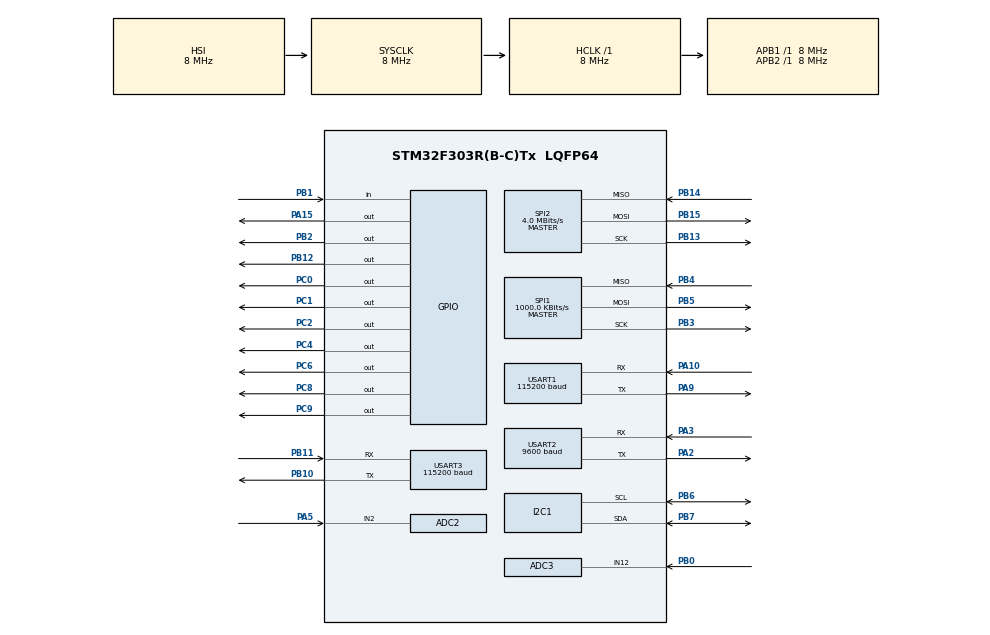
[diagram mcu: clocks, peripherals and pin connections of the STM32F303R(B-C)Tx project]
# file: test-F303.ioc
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ADC2.Channel-0\#ChannelRegularConversion=ADC_CHANNEL_2
ADC2.NbrOfConversionFlag=1
ADC2.Offset-0\#ChannelRegularConversion=0
ADC2.OffsetNumber-0\#ChannelRegularConversion=ADC_OFFSET_NONE
ADC2.Rank-0\#ChannelRegularConversion=1
ADC2.SamplingTime-0\#ChannelRegularConversion=ADC_SAMPLETIME_1CYCLE_5
ADC2.SamplingTimeOPAMP-0\#ChannelRegularConversion=ADC_SAMPLETIME_4CYCLES_5
ADC3.Channel-0\#ChannelRegularConversion=ADC_CHANNEL_12
ADC3.NbrOfConversionFlag=1
ADC3.Offset-0\#ChannelRegularConversion=0
ADC3.OffsetNumber-0\#ChannelRegularConversion=ADC_OFFSET_NONE
ADC3.Rank-0\#ChannelRegularConversion=1
ADC3.SamplingTime-0\#ChannelRegularConversion=ADC_SAMPLETIME_1CYCLE_5
ADC3.SamplingTimeOPAMP-0\#ChannelRegularConversion=ADC_SAMPLETIME_4CYCLES_5
ADC3.master=1
Dma.ADC2.3.Direction=DMA_PERIPH_TO_MEMORY
Dma.ADC2.3.Instance=DMA2_Channel1
Dma.ADC2.3.MemDataAlignment=DMA_MDATAALIGN_HALFWORD
Dma.ADC2.3.MemInc=DMA_MINC_ENABLE
Dma.ADC2.3.Mode=DMA_CIRCULAR
Dma.ADC2.3.PeriphDataAlignment=DMA_PDATAALIGN_HALFWORD
Dma.ADC2.3.PeriphInc=DMA_PINC_DISABLE
Dma.ADC2.3.Priority=DMA_PRIORITY_LOW
Dma.ADC3.4.Direction=DMA_PERIPH_TO_MEMORY
Dma.ADC3.4.Instance=DMA2_Channel5
Dma.ADC3.4.MemDataAlignment=DMA_MDATAALIGN_HALFWORD
Dma.ADC3.4.MemInc=DMA_MINC_ENABLE
Dma.ADC3.4.Mode=DMA_CIRCULAR
Dma.ADC3.4.PeriphDataAlignment=DMA_PDATAALIGN_HALFWORD
Dma.ADC3.4.PeriphInc=DMA_PINC_DISABLE
Dma.ADC3.4.Priority=DMA_PRIORITY_LOW
Dma.Request0=USART2_RX
Dma.Request1=USART1_RX
Dma.Request2=USART3_RX
Dma.Request3=ADC2
Dma.Request4=ADC3
Dma.Request5=USART1_TX
Dma.USART1_RX.1.Direction=DMA_PERIPH_TO_MEMORY
Dma.USART1_RX.1.Instance=DMA1_Channel5
Dma.USART1_RX.1.MemDataAlignment=DMA_MDATAALIGN_BYTE
Dma.USART1_RX.1.MemInc=DMA_MINC_ENABLE
Dma.USART1_RX.1.Mode=DMA_CIRCULAR
Dma.USART1_RX.1.PeriphDataAlignment=DMA_PDATAALIGN_BYTE
Dma.USART1_RX.1.PeriphInc=DMA_PINC_DISABLE
Dma.USART1_RX.1.Priority=DMA_PRIORITY_LOW
Dma.USART1_TX.5.Direction=DMA_MEMORY_TO_PERIPH
Dma.USART1_TX.5.Instance=DMA1_Channel4
Dma.USART1_TX.5.MemDataAlignment=DMA_MDATAALIGN_BYTE
Dma.USART1_TX.5.MemInc=DMA_MINC_ENABLE
Dma.USART1_TX.5.Mode=DMA_NORMAL
Dma.USART1_TX.5.PeriphDataAlignment=DMA_PDATAALIGN_BYTE
Dma.USART1_TX.5.PeriphInc=DMA_PINC_DISABLE
Dma.USART1_TX.5.Priority=DMA_PRIORITY_LOW
Dma.USART2_RX.0.Direction=DMA_PERIPH_TO_MEMORY
Dma.USART2_RX.0.Instance=DMA1_Channel6
Dma.USART2_RX.0.MemDataAlignment=DMA_MDATAALIGN_BYTE
Dma.USART2_RX.0.MemInc=DMA_MINC_ENABLE
Dma.USART2_RX.0.Mode=DMA_CIRCULAR
Dma.USART2_RX.0.PeriphDataAlignment=DMA_PDATAALIGN_BYTE
Dma.USART2_RX.0.PeriphInc=DMA_PINC_DISABLE
Dma.USART2_RX.0.Priority=DMA_PRIORITY_MEDIUM
Dma.USART3_RX.2.Direction=DMA_PERIPH_TO_MEMORY
Dma.USART3_RX.2.Instance=DMA1_Channel3
Dma.USART3_RX.2.MemDataAlignment=DMA_MDATAALIGN_BYTE
Dma.USART3_RX.2.MemInc=DMA_MINC_ENABLE
Dma.USART3_RX.2.Mode=DMA_CIRCULAR
Dma.USART3_RX.2.PeriphDataAlignment=DMA_PDATAALIGN_BYTE
Dma.USART3_RX.2.PeriphInc=DMA_PINC_DISABLE
Dma.USART3_RX.2.Priority=DMA_PRIORITY_MEDIUM
FREERTOS.MEMORY_ALLOCATION=2
FREERTOS.Mutexes01=myMutex,Dynamic,NULL,Depleted
FREERTOS.Tasks01=defaultTask,0,64,StartDefaultTask,Default,NULL,Dynamic,NULL,NULL;ControllingLED,-2,64,StartControllingLED,Default,NULL,Dynamic,NULL,NULL;UART1,-2,64,StartUART1,Default,NULL,Dynamic,NULL,NULL;SpiFlash,-2,1280,StartSpiFlash,Default,NULL,Dynamic,NULL,NULL;GPS,-2,480,StartGPS,Default,NULL,Dynamic,NULL,NULL;RFID,-2,64,StartRFID,Default,NULL,Dynamic,NULL,NULL;GSM,-2,896,StartGSM,Default,NULL,Dynamic,NULL,NULL
FREERTOS.configMINIMAL_STACK_SIZE=64
FREERTOS.configQUEUE_REGISTRY_SIZE=32
FREERTOS.configTOTAL_HEAP_SIZE=20000
FREERTOS.configUSE_NEWLIB_REENTRANT=1
I2C1.Timing=0x00201D2B
Mcu.Family=STM32F3
Mcu.Name=STM32F303R(B-C)Tx
Mcu.Package=LQFP64
NVIC.ADC3_IRQn=true\:5\:0\:false\:false\:true\:true\:true\:true\:true
NVIC.DMA1_Channel3_IRQn=true\:5\:0\:false\:false\:true\:true\:false\:true\:true
NVIC.DMA1_Channel4_IRQn=true\:5\:0\:false\:false\:true\:true\:false\:true\:true
NVIC.DMA1_Channel5_IRQn=true\:5\:0\:false\:false\:true\:true\:false\:true\:true
NVIC.DMA1_Channel6_IRQn=true\:5\:0\:false\:false\:true\:true\:false\:true\:true
NVIC.DMA2_Channel1_IRQn=true\:5\:0\:false\:false\:true\:true\:false\:true\:true
NVIC.DMA2_Channel5_IRQn=true\:5\:0\:false\:false\:true\:true\:false\:true\:true
NVIC.PriorityGroup=NVIC_PRIORITYGROUP_4
NVIC.TIM2_IRQn=true\:15\:0\:false\:false\:true\:false\:false\:true\:true
NVIC.TIM3_IRQn=true\:5\:0\:false\:false\:true\:true\:true\:true\:true
NVIC.TimeBase=TIM2_IRQn
NVIC.TimeBaseIP=TIM2
PA10.Mode=Asynchronous
PA10.Signal=USART1_RX
PA15.GPIO_PuPd=GPIO_PULLUP
PA15.GPIO_Speed=GPIO_SPEED_FREQ_HIGH
PA15.PinState=GPIO_PIN_SET
PA15.Signal=GPIO_Output
PA2.Mode=Asynchronous
PA2.Signal=USART2_TX
PA3.Mode=Asynchronous
PA3.Signal=USART2_RX
PA5.Mode=IN2-Single-Ended
PA5.Signal=ADC2_IN2
PA9.Mode=Asynchronous
PA9.Signal=USART1_TX
PB0.Mode=IN12-Single-Ended
PB0.Signal=ADC3_IN12
PB1.Signal=GPIO_Input
PB10.Mode=Asynchronous
PB10.Signal=USART3_TX
PB11.Mode=Asynchronous
PB11.Signal=USART3_RX
PB12.GPIO_PuPd=GPIO_PULLUP
PB12.GPIO_Speed=GPIO_SPEED_FREQ_HIGH
PB12.PinState=GPIO_PIN_SET
PB12.Signal=GPIO_Output
PB13.Mode=Full_Duplex_Master
PB13.Signal=SPI2_SCK
PB14.Mode=Full_Duplex_Master
PB14.Signal=SPI2_MISO
PB15.Mode=Full_Duplex_Master
PB15.Signal=SPI2_MOSI
PB2.PinState=GPIO_PIN_RESET
PB2.Signal=GPIO_Output
PB3.Mode=Full_Duplex_Master
PB3.Signal=SPI1_SCK
PB4.Mode=Full_Duplex_Master
PB4.Signal=SPI1_MISO
PB5.Mode=Full_Duplex_Master
PB5.Signal=SPI1_MOSI
PB6.Mode=I2C
PB6.Signal=I2C1_SCL
PB7.Mode=I2C
PB7.Signal=I2C1_SDA
PC0.GPIO_PuPd=GPIO_PULLUP
PC0.PinState=GPIO_PIN_SET
PC0.Signal=GPIO_Output
PC1.GPIO_PuPd=GPIO_PULLUP
PC1.Signal=GPIO_Output
PC14-OSC32_IN.Mode=LSE-External-Oscillator
PC14-OSC32_IN.Signal=RCC_OSC32_IN
PC15-OSC32_OUT.Mode=LSE-External-Oscillator
PC15-OSC32_OUT.Signal=RCC_OSC32_OUT
PC2.Signal=GPIO_Output
PC4.Signal=GPIO_Output
PC6.PinState=GPIO_PIN_RESET
PC6.Signal=GPIO_Output
PC8.Signal=GPIO_Output
PC9.GPIO_PuPd=GPIO_PULLUP
PC9.Signal=GPIO_Output
ProjectManager.HeapSize=0x200
ProjectManager.StackSize=0x400
ProjectManager.TargetToolchain=STM32CubeIDE
RCC.AHBFreq_Value=8000000
RCC.APB1Freq_Value=8000000
RCC.APB2Freq_Value=8000000
RCC.CortexFreq_Value=8000000
RCC.HSE_VALUE=8000000
RCC.HSI_VALUE=8000000
RCC.PLLMUL=RCC_PLL_MUL4
RCC.RTCClockSelection=RCC_RTCCLKSOURCE_LSE
RCC.SYSCLKFreq_VALUE=8000000
RCC.USBFreq_Value=16000000
RTC.AsynchPrediv=127
RTC.Format=RTC_FORMAT_BIN
RTC.SynchPrediv=255
SPI1.BaudRatePrescaler=SPI_BAUDRATEPRESCALER_8
SPI1.CalculateBaudRate=1000.0 KBits/s
SPI1.DataSize=SPI_DATASIZE_8BIT
SPI1.Direction=SPI_DIRECTION_2LINES
SPI1.Mode=SPI_MODE_MASTER
SPI1.VirtualType=VM_MASTER
SPI2.CalculateBaudRate=4.0 MBits/s
SPI2.Direction=SPI_DIRECTION_2LINES
SPI2.Mode=SPI_MODE_MASTER
SPI2.VirtualType=VM_MASTER
TIM3.CounterMode=TIM_COUNTERMODE_UP
TIM3.Prescaler=8000
USART1.BaudRate=115200
USART1.VirtualMode-Asynchronous=VM_ASYNC
USART2.BaudRate=9600
USART2.VirtualMode-Asynchronous=VM_ASYNC
USART3.BaudRate=115200
USART3.VirtualMode-Asynchronous=VM_ASYNC
VP_FREERTOS_VS_CMSIS_V1.Mode=CMSIS_V1
VP_RTC_VS_RTC_Activate.Mode=RTC_Enabled
VP_RTC_VS_RTC_Calendar.Mode=RTC_Calendar
VP_SYS_VS_tim2.Mode=TIM2
VP_TIM3_VS_ClockSourceINT.Mode=Internal
board=custom

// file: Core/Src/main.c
/* USER CODE BEGIN Header */
/**
  ******************************************************************************
  * @file           : main.c
  * @brief          : Main program body
  ******************************************************************************
  * @attention
  *
  * Copyright (c) 2024 STMicroelectronics.
  * All rights reserved.
  *
  * This software is licensed under terms that can be found in the LICENSE file
  * in the root directory of this software component.
  * If no LICENSE file comes with this software, it is provided AS-IS.
  *
  ******************************************************************************
  */
/* USER CODE END Header */
#include "main.h"
#include "cmsis_os.h"

/* USER CODE BEGIN Includes */
#include "system_management.h"
#include "spi_flash.h"
#include "GPS.h"
#include "RS232-UART1.h"
#include <stdio.h>

/* USER CODE END Includes */

/* USER CODE BEGIN PD */
#define RTC_INIT_FLAG 0x32F2
/* USER CODE END PD */

ADC_HandleTypeDef hadc2;
ADC_HandleTypeDef hadc3;
DMA_HandleTypeDef hdma_adc2;
DMA_HandleTypeDef hdma_adc3;

I2C_HandleTypeDef hi2c1;

RTC_HandleTypeDef hrtc;

SPI_HandleTypeDef hspi1;
SPI_HandleTypeDef hspi2;

TIM_HandleTypeDef htim3;

UART_HandleTypeDef huart1;
UART_HandleTypeDef huart2;
UART_HandleTypeDef huart3;
DMA_HandleTypeDef hdma_usart1_rx;
DMA_HandleTypeDef hdma_usart1_tx;
DMA_HandleTypeDef hdma_usart2_rx;
DMA_HandleTypeDef hdma_usart3_rx;

osThreadId defaultTaskHandle;
osThreadId ControllingLEDHandle;
osThreadId UART1Handle;
osThreadId SpiFlashHandle;
osThreadId GPSHandle;
osThreadId RFIDHandle;
osThreadId GSMHandle;
osMutexId myMutexHandle;
/* USER CODE BEGIN PV */
osMailQId tax_MailQId;
osMailQId RMC_MailQFLASHId;
osMailQId RMC_MailQGSMId;
/* USER CODE END PV */

void SystemClock_Config(void);
static void MX_GPIO_Init(void);
static void MX_DMA_Init(void);
static void MX_RTC_Init(void);
static void MX_SPI1_Init(void);
static void MX_USART1_UART_Init(void);
static void MX_USART2_UART_Init(void);
static void MX_USART3_UART_Init(void);
static void MX_TIM3_Init(void);
static void MX_ADC2_Init(void);
static void MX_ADC3_Init(void);
static void MX_SPI2_Init(void);
static void MX_I2C1_Init(void);
void StartDefaultTask(void const * argument);
void StartControllingLED(void const * argument);
void StartUART1(void const * argument);
void StartSpiFlash(void const * argument);
void StartGPS(void const * argument);
void StartRFID(void const * argument);
void StartGSM(void const * argument);

/* USER CODE BEGIN PFP */
// Function to check if a line matches the specified format
int matches_format(const char *line);

// Function to process received UART characters and detect lines
void process_uart_character(uint8_t ch);

#ifdef __GNUC__
#define PUTCHAR_PROTOTYPE int __io_putchar(int ch)
#else
#define PUTCHAR_PROTOTYPE int fputc(int ch, FILE *f)
#endif

PUTCHAR_PROTOTYPE
{
  HAL_UART_Transmit(&huart1, (uint8_t *)&ch, 1, 1000);
  return ch;
}

void Initialize_RTC(void) {
    // Enable Power Clock
    __HAL_RCC_PWR_CLK_ENABLE();

    // Allow access to the backup domain
    hrtc.Instance = RTC;
    HAL_PWR_EnableBkUpAccess();
    if (HAL_RTCEx_BKUPRead(&hrtc, RTC_BKP_DR1) != RTC_INIT_FLAG) {
    	printf("\n--------------------------------------------- FIRST TIME RTC INITIALISATION ----------------------------------------------\n");
        // First-time initialization
        MX_RTC_Init();  // Configure RTC
        HAL_RTCEx_BKUPWrite(&hrtc, RTC_BKP_DR1, RTC_INIT_FLAG);  // Store initialization flag
    } else {
    	printf("\n-------------------------------------------- BACK UP RTC:  GETTING RTC FROM BACK UP ----------------------------------------\n");
        // RTC is already configured, just read the time
        RTC_TimeTypeDef sTime;
        RTC_DateTypeDef sDate;

        HAL_RTC_GetTime(&hrtc, &sTime, RTC_FORMAT_BIN);
        HAL_RTC_GetDate(&hrtc, &sDate, RTC_FORMAT_BIN);
        // Use the retrieved time and date
    }

}

/* USER CODE END PFP */

int main(void)
{

  /* MCU Configuration--------------------------------------------------------*/

  /* Reset of all peripherals, Initializes the Flash interface and the Systick. */
  HAL_Init();

  /* Configure the system clock */
  SystemClock_Config();

  /* USER CODE BEGIN SysInit */
  	Initialize_RTC();

  /* USER CODE END SysInit */

  /* Initialize all configured peripherals */
  MX_GPIO_Init();
  MX_DMA_Init();
//  MX_RTC_Init();
  MX_SPI1_Init();
  MX_USART1_UART_Init();
  MX_USART2_UART_Init();
  MX_USART3_UART_Init();
  MX_TIM3_Init();
  MX_ADC2_Init();
  MX_ADC3_Init();
  MX_SPI2_Init();
  MX_I2C1_Init();

  /* Create the mutex(es) */
  /* definition and creation of myMutex */
  osMutexDef(myMutex);
  myMutexHandle = osMutexCreate(osMutex(myMutex));

  /* USER CODE BEGIN RTOS_MUTEX */
  /* add mutexes, ... */
//  osMutexId_t myMutex;
  /* USER CODE END RTOS_MUTEX */

  /* USER CODE BEGIN RTOS_QUEUES */
  /* add queues, ... */

  osMailQDef(GSM_MailQ, 32, GSM_MAIL_STRUCT);
  RMC_MailQGSMId = osMailCreate(osMailQ(GSM_MailQ), NULL);

  osMailQDef(FLASH_MailQ, 5, RMCSTRUCT);
  RMC_MailQFLASHId = osMailCreate(osMailQ(FLASH_MailQ), NULL);

  osMailQDef(Tax_MailQ, 1, TAX_MAIL_STRUCT);
  tax_MailQId = osMailCreate(osMailQ(Tax_MailQ), NULL);
  /* USER CODE END RTOS_QUEUES */

//  /* Create the thread(s) */
//  /* definition and creation of defaultTask */
//  osThreadDef(defaultTask, StartDefaultTask, osPriorityNormal, 0, 64);
//  defaultTaskHandle = osThreadCreate(osThread(defaultTask), NULL);
//
//  /* definition and creation of ControllingLED */
//  osThreadDef(ControllingLED, StartControllingLED, osPriorityLow, 0, 64);
//  ControllingLEDHandle = osThreadCreate(osThread(ControllingLED), NULL);
//
//  /* definition and creation of UART1 */
//  osThreadDef(UART1, StartUART1, osPriorityLow, 0, 64);
//  UART1Handle = osThreadCreate(osThread(UART1), NULL);

  /* definition and creation of SpiFlash */
  osThreadDef(SpiFlash, StartSpiFlash, osPriorityLow, 0, 1280);
  SpiFlashHandle = osThreadCreate(osThread(SpiFlash), NULL);

  /* definition and creation of GPS */
  osThreadDef(GPS, StartGPS, osPriorityLow, 0, 480);
  GPSHandle = osThreadCreate(osThread(GPS), NULL);

//  /* definition and creation of RFID */
//  osThreadDef(RFID, StartRFID, osPriorityLow, 0, 64);
//  RFIDHandle = osThreadCreate(osThread(RFID), NULL);

  /* definition and creation of GSM */
  osThreadDef(GSM, StartGSM, osPriorityLow, 0, 896);
  GSMHandle = osThreadCreate(osThread(GSM), NULL);

  /* USER CODE BEGIN RTOS_THREADS */
//  /* add threads, ... */
  /* USER CODE END RTOS_THREADS */

  /* Start scheduler */
  osKernelStart();

  /* We should never get here as control is now taken by the scheduler */

  /* Infinite loop */
  while (1)
  {

  }
}

void SystemClock_Config(void)
{
  RCC_OscInitTypeDef RCC_OscInitStruct = {0};
  RCC_ClkInitTypeDef RCC_ClkInitStruct = {0};
  RCC_PeriphCLKInitTypeDef PeriphClkInit = {0};

  /** Configure LSE Drive Capability
  */
  HAL_PWR_EnableBkUpAccess();
  __HAL_RCC_LSEDRIVE_CONFIG(RCC_LSEDRIVE_LOW);

  /** Initializes the RCC Oscillators according to the specified parameters
  * in the RCC_OscInitTypeDef structure.
  */
  RCC_OscInitStruct.OscillatorType = RCC_OSCILLATORTYPE_HSI|RCC_OSCILLATORTYPE_LSE;
  RCC_OscInitStruct.LSEState = RCC_LSE_ON;
  RCC_OscInitStruct.HSIState = RCC_HSI_ON;
  RCC_OscInitStruct.HSICalibrationValue = RCC_HSICALIBRATION_DEFAULT;
  RCC_OscInitStruct.PLL.PLLState = RCC_PLL_ON;
  RCC_OscInitStruct.PLL.PLLSource = RCC_PLLSOURCE_HSI;
  RCC_OscInitStruct.PLL.PLLMUL = RCC_PLL_MUL4;
  if (HAL_RCC_OscConfig(&RCC_OscInitStruct) != HAL_OK)
  {
    Error_Handler();
  }

  /** Initializes the CPU, AHB and APB buses clocks
  */
  RCC_ClkInitStruct.ClockType = RCC_CLOCKTYPE_HCLK|RCC_CLOCKTYPE_SYSCLK
                              |RCC_CLOCKTYPE_PCLK1|RCC_CLOCKTYPE_PCLK2;
  RCC_ClkInitStruct.SYSCLKSource = RCC_SYSCLKSOURCE_HSI;
  RCC_ClkInitStruct.AHBCLKDivider = RCC_SYSCLK_DIV1;
  RCC_ClkInitStruct.APB1CLKDivider = RCC_HCLK_DIV1;
  RCC_ClkInitStruct.APB2CLKDivider = RCC_HCLK_DIV1;

  if (HAL_RCC_ClockConfig(&RCC_ClkInitStruct, FLASH_LATENCY_0) != HAL_OK)
  {
    Error_Handler();
  }
  PeriphClkInit.PeriphClockSelection = RCC_PERIPHCLK_USART1|RCC_PERIPHCLK_USART2
                              |RCC_PERIPHCLK_USART3|RCC_PERIPHCLK_I2C1
                              |RCC_PERIPHCLK_RTC|RCC_PERIPHCLK_ADC12
                              |RCC_PERIPHCLK_ADC34;
  PeriphClkInit.Usart1ClockSelection = RCC_USART1CLKSOURCE_PCLK2;
  PeriphClkInit.Usart2ClockSelection = RCC_USART2CLKSOURCE_PCLK1;
  PeriphClkInit.Usart3ClockSelection = RCC_USART3CLKSOURCE_PCLK1;
  PeriphClkInit.Adc12ClockSelection = RCC_ADC12PLLCLK_DIV1;
  PeriphClkInit.Adc34ClockSelection = RCC_ADC34PLLCLK_DIV1;
  PeriphClkInit.I2c1ClockSelection = RCC_I2C1CLKSOURCE_HSI;
  PeriphClkInit.RTCClockSelection = RCC_RTCCLKSOURCE_LSE;
  if (HAL_RCCEx_PeriphCLKConfig(&PeriphClkInit) != HAL_OK)
  {
    Error_Handler();
  }
}

static void MX_ADC2_Init(void)
{

  ADC_ChannelConfTypeDef sConfig = {0};

  /** Common config
  */
  hadc2.Instance = ADC2;
  hadc2.Init.ClockPrescaler = ADC_CLOCK_ASYNC_DIV1;
  hadc2.Init.Resolution = ADC_RESOLUTION_12B;
  hadc2.Init.ScanConvMode = ADC_SCAN_DISABLE;
  hadc2.Init.ContinuousConvMode = DISABLE;
  hadc2.Init.DiscontinuousConvMode = DISABLE;
  hadc2.Init.ExternalTrigConvEdge = ADC_EXTERNALTRIGCONVEDGE_NONE;
  hadc2.Init.ExternalTrigConv = ADC_SOFTWARE_START;
  hadc2.Init.DataAlign = ADC_DATAALIGN_RIGHT;
  hadc2.Init.NbrOfConversion = 1;
  hadc2.Init.DMAContinuousRequests = DISABLE;
  hadc2.Init.EOCSelection = ADC_EOC_SINGLE_CONV;
  hadc2.Init.LowPowerAutoWait = DISABLE;
  hadc2.Init.Overrun = ADC_OVR_DATA_OVERWRITTEN;
  if (HAL_ADC_Init(&hadc2) != HAL_OK)
  {
    Error_Handler();
  }

  /** Configure Regular Channel
  */
  sConfig.Channel = ADC_CHANNEL_2;
  sConfig.Rank = ADC_REGULAR_RANK_1;
  sConfig.SingleDiff = ADC_SINGLE_ENDED;
  sConfig.SamplingTime = ADC_SAMPLETIME_1CYCLE_5;
  sConfig.OffsetNumber = ADC_OFFSET_NONE;
  sConfig.Offset = 0;
  if (HAL_ADC_ConfigChannel(&hadc2, &sConfig) != HAL_OK)
  {
    Error_Handler();
  }

}

static void MX_ADC3_Init(void)
{

  ADC_MultiModeTypeDef multimode = {0};
  ADC_ChannelConfTypeDef sConfig = {0};

  /** Common config
  */
  hadc3.Instance = ADC3;
  hadc3.Init.ClockPrescaler = ADC_CLOCK_ASYNC_DIV1;
  hadc3.Init.Resolution = ADC_RESOLUTION_12B;
  hadc3.Init.ScanConvMode = ADC_SCAN_DISABLE;
  hadc3.Init.ContinuousConvMode = DISABLE;
  hadc3.Init.DiscontinuousConvMode = DISABLE;
  hadc3.Init.ExternalTrigConvEdge = ADC_EXTERNALTRIGCONVEDGE_NONE;
  hadc3.Init.ExternalTrigConv = ADC_SOFTWARE_START;
  hadc3.Init.DataAlign = ADC_DATAALIGN_RIGHT;
  hadc3.Init.NbrOfConversion = 1;
  hadc3.Init.DMAContinuousRequests = DISABLE;
  hadc3.Init.EOCSelection = ADC_EOC_SINGLE_CONV;
  hadc3.Init.LowPowerAutoWait = DISABLE;
  hadc3.Init.Overrun = ADC_OVR_DATA_OVERWRITTEN;
  if (HAL_ADC_Init(&hadc3) != HAL_OK)
  {
    Error_Handler();
  }

  /** Configure the ADC multi-mode
  */
  multimode.Mode = ADC_MODE_INDEPENDENT;
  if (HAL_ADCEx_MultiModeConfigChannel(&hadc3, &multimode) != HAL_OK)
  {
    Error_Handler();
  }

  /** Configure Regular Channel
  */
  sConfig.Channel = ADC_CHANNEL_12;
  sConfig.Rank = ADC_REGULAR_RANK_1;
  sConfig.SingleDiff = ADC_SINGLE_ENDED;
  sConfig.SamplingTime = ADC_SAMPLETIME_1CYCLE_5;
  sConfig.OffsetNumber = ADC_OFFSET_NONE;
  sConfig.Offset = 0;
  if (HAL_ADC_ConfigChannel(&hadc3, &sConfig) != HAL_OK)
  {
    Error_Handler();
  }

}

static void MX_I2C1_Init(void)
{

  hi2c1.Instance = I2C1;
  hi2c1.Init.Timing = 0x00201D2B;
  hi2c1.Init.OwnAddress1 = 0;
  hi2c1.Init.AddressingMode = I2C_ADDRESSINGMODE_7BIT;
  hi2c1.Init.DualAddressMode = I2C_DUALADDRESS_DISABLE;
  hi2c1.Init.OwnAddress2 = 0;
  hi2c1.Init.OwnAddress2Masks = I2C_OA2_NOMASK;
  hi2c1.Init.GeneralCallMode = I2C_GENERALCALL_DISABLE;
  hi2c1.Init.NoStretchMode = I2C_NOSTRETCH_DISABLE;
  if (HAL_I2C_Init(&hi2c1) != HAL_OK)
  {
    Error_Handler();
  }

  /** Configure Analogue filter
  */
  if (HAL_I2CEx_ConfigAnalogFilter(&hi2c1, I2C_ANALOGFILTER_ENABLE) != HAL_OK)
  {
    Error_Handler();
  }

  /** Configure Digital filter
  */
  if (HAL_I2CEx_ConfigDigitalFilter(&hi2c1, 0) != HAL_OK)
  {
    Error_Handler();
  }

}

static void MX_RTC_Init(void)
{

  RTC_TimeTypeDef sTime = {0};
  RTC_DateTypeDef sDate = {0};

  /** Initialize RTC Only
  */
  hrtc.Instance = RTC;
  hrtc.Init.HourFormat = RTC_HOURFORMAT_24;
  hrtc.Init.AsynchPrediv = 127;
  hrtc.Init.SynchPrediv = 255;
  hrtc.Init.OutPut = RTC_OUTPUT_DISABLE;
  hrtc.Init.OutPutPolarity = RTC_OUTPUT_POLARITY_HIGH;
  hrtc.Init.OutPutType = RTC_OUTPUT_TYPE_OPENDRAIN;
  if (HAL_RTC_Init(&hrtc) != HAL_OK)
  {
    Error_Handler();
  }

  /** Initialize RTC and set the Time and Date
  */

}

static void MX_SPI1_Init(void)
{

  /* SPI1 parameter configuration*/
  hspi1.Instance = SPI1;
  hspi1.Init.Mode = SPI_MODE_MASTER;
  hspi1.Init.Direction = SPI_DIRECTION_2LINES;
  hspi1.Init.DataSize = SPI_DATASIZE_8BIT;
  hspi1.Init.CLKPolarity = SPI_POLARITY_LOW;
  hspi1.Init.CLKPhase = SPI_PHASE_1EDGE;
  hspi1.Init.NSS = SPI_NSS_SOFT;
  hspi1.Init.BaudRatePrescaler = SPI_BAUDRATEPRESCALER_8;
  hspi1.Init.FirstBit = SPI_FIRSTBIT_MSB;
  hspi1.Init.TIMode = SPI_TIMODE_DISABLE;
  hspi1.Init.CRCCalculation = SPI_CRCCALCULATION_DISABLE;
  hspi1.Init.CRCPolynomial = 7;
  hspi1.Init.CRCLength = SPI_CRC_LENGTH_DATASIZE;
  hspi1.Init.NSSPMode = SPI_NSS_PULSE_ENABLE;
  if (HAL_SPI_Init(&hspi1) != HAL_OK)
  {
    Error_Handler();
  }

}

static void MX_SPI2_Init(void)
{

  /* SPI2 parameter configuration*/
  hspi2.Instance = SPI2;
  hspi2.Init.Mode = SPI_MODE_MASTER;
  hspi2.Init.Direction = SPI_DIRECTION_2LINES;
  hspi2.Init.DataSize = SPI_DATASIZE_4BIT;
  hspi2.Init.CLKPolarity = SPI_POLARITY_LOW;
  hspi2.Init.CLKPhase = SPI_PHASE_1EDGE;
  hspi2.Init.NSS = SPI_NSS_SOFT;
  hspi2.Init.BaudRatePrescaler = SPI_BAUDRATEPRESCALER_2;
  hspi2.Init.FirstBit = SPI_FIRSTBIT_MSB;
  hspi2.Init.TIMode = SPI_TIMODE_DISABLE;
  hspi2.Init.CRCCalculation = SPI_CRCCALCULATION_DISABLE;
  hspi2.Init.CRCPolynomial = 7;
  hspi2.Init.CRCLength = SPI_CRC_LENGTH_DATASIZE;
  hspi2.Init.NSSPMode = SPI_NSS_PULSE_ENABLE;
  if (HAL_SPI_Init(&hspi2) != HAL_OK)
  {
    Error_Handler();
  }

}

static void MX_TIM3_Init(void)
{

  TIM_ClockConfigTypeDef sClockSourceConfig = {0};
  TIM_MasterConfigTypeDef sMasterConfig = {0};

  htim3.Instance = TIM3;
  htim3.Init.Prescaler = 8000;
  htim3.Init.CounterMode = TIM_COUNTERMODE_UP;
  htim3.Init.Period = 65535;
  htim3.Init.ClockDivision = TIM_CLOCKDIVISION_DIV1;
  htim3.Init.AutoReloadPreload = TIM_AUTORELOAD_PRELOAD_DISABLE;
  if (HAL_TIM_Base_Init(&htim3) != HAL_OK)
  {
    Error_Handler();
  }
  sClockSourceConfig.ClockSource = TIM_CLOCKSOURCE_INTERNAL;
  if (HAL_TIM_ConfigClockSource(&htim3, &sClockSourceConfig) != HAL_OK)
  {
    Error_Handler();
  }
  sMasterConfig.MasterOutputTrigger = TIM_TRGO_RESET;
  sMasterConfig.MasterSlaveMode = TIM_MASTERSLAVEMODE_DISABLE;
  if (HAL_TIMEx_MasterConfigSynchronization(&htim3, &sMasterConfig) != HAL_OK)
  {
    Error_Handler();
  }

}

static void MX_USART1_UART_Init(void)
{

  huart1.Instance = USART1;
  huart1.Init.BaudRate = 115200;
  huart1.Init.WordLength = UART_WORDLENGTH_8B;
  huart1.Init.StopBits = UART_STOPBITS_1;
  huart1.Init.Parity = UART_PARITY_NONE;
  huart1.Init.Mode = UART_MODE_TX_RX;
  huart1.Init.HwFlowCtl = UART_HWCONTROL_NONE;
  huart1.Init.OverSampling = UART_OVERSAMPLING_16;
  huart1.Init.OneBitSampling = UART_ONE_BIT_SAMPLE_DISABLE;
  huart1.AdvancedInit.AdvFeatureInit = UART_ADVFEATURE_NO_INIT;
  if (HAL_UART_Init(&huart1) != HAL_OK)
  {
    Error_Handler();
  }

}

static void MX_USART2_UART_Init(void)
{

  huart2.Instance = USART2;
  huart2.Init.BaudRate = 9600;
  huart2.Init.WordLength = UART_WORDLENGTH_8B;
  huart2.Init.StopBits = UART_STOPBITS_1;
  huart2.Init.Parity = UART_PARITY_NONE;
  huart2.Init.Mode = UART_MODE_TX_RX;
  huart2.Init.HwFlowCtl = UART_HWCONTROL_NONE;
  huart2.Init.OverSampling = UART_OVERSAMPLING_16;
  huart2.Init.OneBitSampling = UART_ONE_BIT_SAMPLE_DISABLE;
  huart2.AdvancedInit.AdvFeatureInit = UART_ADVFEATURE_NO_INIT;
  if (HAL_UART_Init(&huart2) != HAL_OK)
  {
    Error_Handler();
  }

}

static void MX_USART3_UART_Init(void)
{

  huart3.Instance = USART3;
  huart3.Init.BaudRate = 115200;
  huart3.Init.WordLength = UART_WORDLENGTH_8B;
  huart3.Init.StopBits = UART_STOPBITS_1;
  huart3.Init.Parity = UART_PARITY_NONE;
  huart3.Init.Mode = UART_MODE_TX_RX;
  huart3.Init.HwFlowCtl = UART_HWCONTROL_NONE;
  huart3.Init.OverSampling = UART_OVERSAMPLING_16;
  huart3.Init.OneBitSampling = UART_ONE_BIT_SAMPLE_DISABLE;
  huart3.AdvancedInit.AdvFeatureInit = UART_ADVFEATURE_NO_INIT;
  if (HAL_UART_Init(&huart3) != HAL_OK)
  {
    Error_Handler();
  }

}

static void MX_DMA_Init(void)
{

  /* DMA controller clock enable */
  __HAL_RCC_DMA1_CLK_ENABLE();
  __HAL_RCC_DMA2_CLK_ENABLE();

  /* DMA interrupt init */
  /* DMA1_Channel3_IRQn interrupt configuration */
  HAL_NVIC_SetPriority(DMA1_Channel3_IRQn, 5, 0);
  HAL_NVIC_EnableIRQ(DMA1_Channel3_IRQn);
  /* DMA1_Channel4_IRQn interrupt configuration */
  HAL_NVIC_SetPriority(DMA1_Channel4_IRQn, 5, 0);
  HAL_NVIC_EnableIRQ(DMA1_Channel4_IRQn);
  /* DMA1_Channel5_IRQn interrupt configuration */
  HAL_NVIC_SetPriority(DMA1_Channel5_IRQn, 5, 0);
  HAL_NVIC_EnableIRQ(DMA1_Channel5_IRQn);
  /* DMA1_Channel6_IRQn interrupt configuration */
  HAL_NVIC_SetPriority(DMA1_Channel6_IRQn, 5, 0);
  HAL_NVIC_EnableIRQ(DMA1_Channel6_IRQn);
  /* DMA2_Channel1_IRQn interrupt configuration */
  HAL_NVIC_SetPriority(DMA2_Channel1_IRQn, 5, 0);
  HAL_NVIC_EnableIRQ(DMA2_Channel1_IRQn);
  /* DMA2_Channel5_IRQn interrupt configuration */
  HAL_NVIC_SetPriority(DMA2_Channel5_IRQn, 5, 0);
  HAL_NVIC_EnableIRQ(DMA2_Channel5_IRQn);

}

static void MX_GPIO_Init(void)
{
  GPIO_InitTypeDef GPIO_InitStruct = {0};

  /* GPIO Ports Clock Enable */
  __HAL_RCC_GPIOC_CLK_ENABLE();
  __HAL_RCC_GPIOA_CLK_ENABLE();
  __HAL_RCC_GPIOB_CLK_ENABLE();

  /*Configure GPIO pin Output Level */
  HAL_GPIO_WritePin(GPIOC, GPIO_PIN_0, GPIO_PIN_SET);

  /*Configure GPIO pin Output Level */
  HAL_GPIO_WritePin(GPIOC, GPIO_PIN_1|GPIO_PIN_2|GPIO_PIN_4|GPIO_PIN_6
                          |GPIO_PIN_8|GPIO_PIN_9, GPIO_PIN_RESET);

  /*Configure GPIO pin Output Level */
  HAL_GPIO_WritePin(GPIOB, GPIO_PIN_2, GPIO_PIN_RESET);

  /*Configure GPIO pin Output Level */
  HAL_GPIO_WritePin(GPIOB, GPIO_PIN_12, GPIO_PIN_SET);

  /*Configure GPIO pin Output Level */
  HAL_GPIO_WritePin(GPIOA, GPIO_PIN_15, GPIO_PIN_SET);

  /*Configure GPIO pins : PC0 PC1 PC9 */
  GPIO_InitStruct.Pin = GPIO_PIN_0|GPIO_PIN_1|GPIO_PIN_9;
  GPIO_InitStruct.Mode = GPIO_MODE_OUTPUT_PP;
  GPIO_InitStruct.Pull = GPIO_PULLUP;
  GPIO_InitStruct.Speed = GPIO_SPEED_FREQ_LOW;
  HAL_GPIO_Init(GPIOC, &GPIO_InitStruct);

  /*Configure GPIO pins : PC2 PC4 PC6 PC8 */
  GPIO_InitStruct.Pin = GPIO_PIN_2|GPIO_PIN_4|GPIO_PIN_6|GPIO_PIN_8;
  GPIO_InitStruct.Mode = GPIO_MODE_OUTPUT_PP;
  GPIO_InitStruct.Pull = GPIO_NOPULL;
  GPIO_InitStruct.Speed = GPIO_SPEED_FREQ_LOW;
  HAL_GPIO_Init(GPIOC, &GPIO_InitStruct);

  /*Configure GPIO pin : PB1 */
  GPIO_InitStruct.Pin = GPIO_PIN_1;
  GPIO_InitStruct.Mode = GPIO_MODE_INPUT;
  GPIO_InitStruct.Pull = GPIO_NOPULL;
  HAL_GPIO_Init(GPIOB, &GPIO_InitStruct);

  /*Configure GPIO pin : PB2 */
  GPIO_InitStruct.Pin = GPIO_PIN_2;
  GPIO_InitStruct.Mode = GPIO_MODE_OUTPUT_PP;
  GPIO_InitStruct.Pull = GPIO_NOPULL;
  GPIO_InitStruct.Speed = GPIO_SPEED_FREQ_LOW;
  HAL_GPIO_Init(GPIOB, &GPIO_InitStruct);

  /*Configure GPIO pin : PB12 */
  GPIO_InitStruct.Pin = GPIO_PIN_12;
  GPIO_InitStruct.Mode = GPIO_MODE_OUTPUT_PP;
  GPIO_InitStruct.Pull = GPIO_PULLUP;
  GPIO_InitStruct.Speed = GPIO_SPEED_FREQ_HIGH;
  HAL_GPIO_Init(GPIOB, &GPIO_InitStruct);

  /*Configure GPIO pin : PA15 */
  GPIO_InitStruct.Pin = GPIO_PIN_15;
  GPIO_InitStruct.Mode = GPIO_MODE_OUTPUT_PP;
  GPIO_InitStruct.Pull = GPIO_PULLUP;
  GPIO_InitStruct.Speed = GPIO_SPEED_FREQ_HIGH;
  HAL_GPIO_Init(GPIOA, &GPIO_InitStruct);

}

/* USER CODE BEGIN 4 */
// Function to check if a line matches the specified format
int matches_format(const char *line) {
    const char *format = "@@@ GSM-> time: %d:%d:%d --------- date: %d/%d/%d  --------- current_addr: %08x @@@";
    int hours, minutes, seconds, day, month, year;
    uint32_t current_addr;

    // Parse the line to check if it matches the format
    int ret = sscanf(line, format, &hours, &minutes, &seconds, &day, &month, &year, &current_addr);

    return ret == 7; // Return 1 if all fields are successfully parsed, otherwise 0
}

// Function to process received UART characters and detect lines
void process_uart_character(uint8_t ch) {
    static char buffer[128];
    static size_t buffer_index = 0;
    static int skip_line = 0; // Flag to indicate if we're skipping the current line

    if (skip_line) {
        // Skip characters until we find a newline
        if (ch == '\n') {
            skip_line = 0; // Reset the flag to stop skipping
        }
        return;
    }

    // Check for end of line
    if (ch == '\n') {
        buffer[buffer_index] = '\0'; // Null-terminate the string
        if (matches_format(buffer)) {
            printf("Detected valid line: %s\n", buffer);
        } else {
            printf("Invalid line: %s\n", buffer);
        }
        buffer_index = 0; // Reset the buffer for the next line
    } else if (buffer_index < 128 - 1) {
        buffer[buffer_index++] = (char)ch; // Add character to the buffer
    } else {
        // Buffer is full; skip the rest of the line
        skip_line = 1;
        buffer_index = 0; // Reset the buffer
        printf("Line too long, skipping...\n");
    }
}
/* USER CODE END 4 */

void StartDefaultTask(void const * argument)
{
  for(;;)
  {
    osDelay(1);
  }
}

void HAL_TIM_PeriodElapsedCallback(TIM_HandleTypeDef *htim)
{
  if (htim->Instance == TIM2) {
    HAL_IncTick();
  }
}

void Error_Handler(void)
{
  __disable_irq();
  while (1)
  {
  }
}
